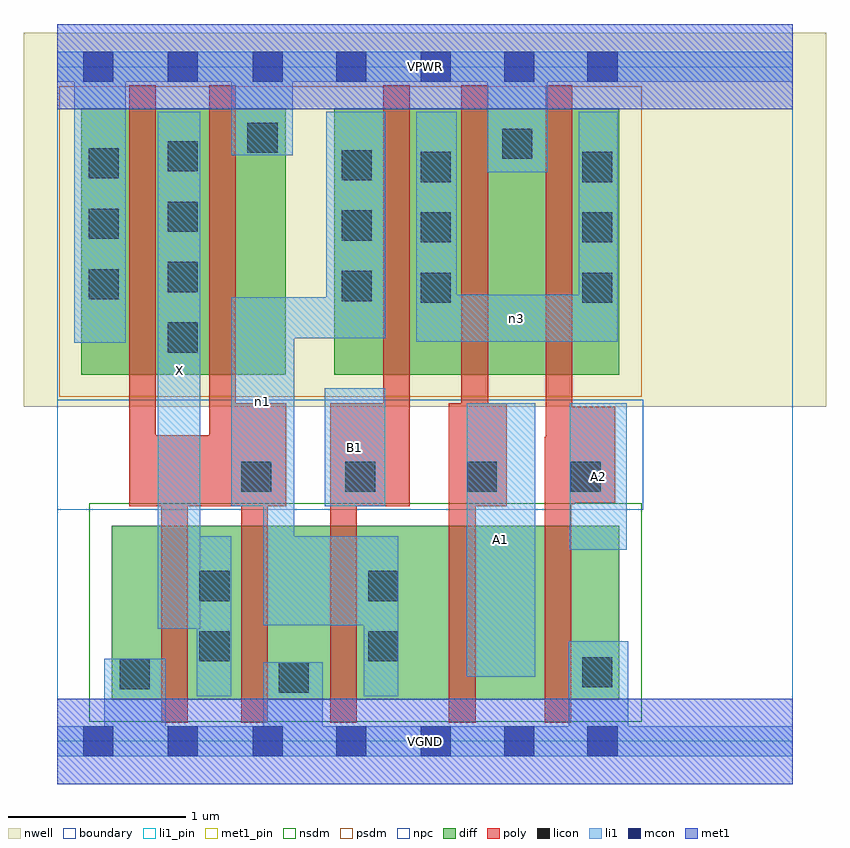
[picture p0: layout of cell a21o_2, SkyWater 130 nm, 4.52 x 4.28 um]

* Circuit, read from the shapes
.subckt a21o_2 A1 A2 B1 VGND VPWR X n1 n3
XM1 X n1 VGND VSUBS sky130_fd_pr__nfet_01v8 w=0.98 l=0.15 m=2
XM2 n1 B1 VGND VSUBS sky130_fd_pr__nfet_01v8 w=0.98 l=0.15
XM3 n2 A1 n1 VSUBS sky130_fd_pr__nfet_01v8 w=0.98 l=0.15
XM4 VGND A2 n2 VSUBS sky130_fd_pr__nfet_01v8 w=0.98 l=0.15
XM5 X n1 VPWR n4 sky130_fd_pr__pfet_01v8 w=1.5 l=0.15 m=2
XM6 n3 B1 n1 n4 sky130_fd_pr__pfet_01v8 w=1.5 l=0.15
XM7 VPWR A1 n3 n4 sky130_fd_pr__pfet_01v8 w=1.5 l=0.15
XM8 n3 A2 VPWR n4 sky130_fd_pr__pfet_01v8 w=1.5 l=0.15
.ends

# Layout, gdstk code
import gdstk
lib = gdstk.Library(unit=1e-6, precision=1e-09)
def R(c, l, rs):  # rectangles x0, y0, x1, y1
    for r in rs: c.add(gdstk.rectangle(r[:2], r[2:], *l))
def A(c, l, x, y, w, h, nx, ny, dx, dy):  # array of equal rectangles
    R(c, l, [(x+i*dx, y+j*dy, x+i*dx+w, y+j*dy+h) for i in range(nx) for j in range(ny)])
nwell = (64, 20)
diff = (65, 20)
poly = (66, 20)
licon = (66, 44)
li1_pin = (67, 16)
li1 = (67, 20)
mcon = (67, 44)
met1_pin = (68, 16)
met1 = (68, 20)
nsdm = (93, 44)
psdm = (94, 20)
npc = (95, 20)
boundary = (235, 4)

a21o_2 = lib.new_cell('a21o_2')
R(a21o_2, nwell, [(-0.19,1.885,4.33,3.99), (0,1.885,4.14,3.99)])
R(a21o_2, diff, [(0.305,0.235,3.165,1.215), (0.135,2.065,1.285,3.565), (1.56,2.065,3.165,3.565)])
R(a21o_2, poly, [(0.585,0.105,0.735,1.725), (1.035,0.105,1.185,1.905), (1.535,0.105,1.685,1.905), (2.205,0.105,2.355,1.905), (2.275,0.105,2.355,3.695), (2.745,0.105,2.895,1.715), (0.405,1.325,0.555,3.695), (0.405,1.325,1.29,1.725), (0.855,1.325,1.005,3.695), (0.855,1.325,1.29,1.905), (1.535,1.325,1.985,1.905), (1.835,1.325,1.985,3.695), (2.205,1.325,2.53,1.905), (2.355,1.325,2.425,3.695), (2.745,1.335,2.91,1.715), (2.75,1.335,2.9,3.695), (2.75,1.345,3.14,1.885)])
A(a21o_2, licon, 0.62, 2.19, 0.17, 0.17, 1, 4, 0, 0.34)
A(a21o_2, licon, 2.045, 2.47, 0.17, 0.17, 1, 3, 0, 0.34)
A(a21o_2, licon, 2.955, 2.47, 0.17, 0.17, 1, 3, 0, 0.34)
A(a21o_2, licon, 1.6, 2.48, 0.17, 0.17, 1, 3, 0, 0.34)
A(a21o_2, licon, 0.175, 2.49, 0.17, 0.17, 1, 3, 0, 0.34)
R(a21o_2, licon, [(1.245,0.275,1.415,0.445), (0.35,0.295,0.52,0.465), (2.955,0.305,3.125,0.475), (0.8,0.45,0.97,0.62), (1.75,0.45,1.92,0.62), (0.8,0.79,0.97,0.96), (1.75,0.79,1.92,0.96), (1.035,1.405,1.205,1.575), (1.62,1.405,1.79,1.575), (2.305,1.405,2.475,1.575), (2.89,1.405,3.06,1.575), (2.505,3.28,2.675,3.45), (1.07,3.315,1.24,3.485)])
R(a21o_2, li1_pin, [(2.305,0.365,2.69,1.905), (0.565,0.635,0.805,3.545), (2.885,1.08,3.205,1.905), (1.505,1.325,1.845,1.99)])
R(a21o_2, li1, [(0,-0.085,4.14,0.085), (0.265,-0.085,0.61,0.465), (1.16,-0.085,1.495,0.445), (2.88,-0.085,3.215,0.565), (0.785,0.255,0.98,1.155), (1.725,0.255,1.92,1.155), (2.305,0.365,2.69,1.905), (0.565,0.635,0.805,3.545), (1.16,0.655,1.92,1.155), (1.16,0.655,1.335,2.5), (2.885,1.08,3.205,1.905), (0.98,1.325,1.335,2.5), (1.505,1.325,1.845,1.99), (0.095,2.245,0.385,3.885), (2.02,2.25,3.155,2.515), (2.02,2.25,2.25,3.545), (2.935,2.25,3.155,3.545), (0.98,2.27,1.845,2.5), (1.515,2.27,1.845,3.545), (2.42,3.205,2.76,3.885), (0.98,3.3,1.325,3.885), (0,3.715,4.14,3.885)])
A(a21o_2, mcon, 2.045, -0.085, 0.17, 0.17, 3, 2, 0.47, 3.8)
R(a21o_2, mcon, [(0.145,-0.085,0.315,0.085), (0.62,-0.085,0.79,0.085), (1.1,-0.085,1.27,0.085), (1.57,-0.085,1.74,0.085), (0.145,3.715,0.315,3.885), (0.62,3.715,0.79,3.885), (1.1,3.715,1.27,3.885), (1.57,3.715,1.74,3.885)])
R(a21o_2, met1_pin, [(0,-0.24,4.14,0.24), (0,3.56,4.14,4.04)])
R(a21o_2, met1, [(0,-0.24,4.14,0.24), (0,3.56,4.14,4.04)])
R(a21o_2, nsdm, [(0.18,0.11,3.29,1.34)])
R(a21o_2, psdm, [(0.01,1.94,3.29,3.69)])
R(a21o_2, npc, [(0,1.305,3.3,1.925)])
R(a21o_2, boundary, [(0,0,4.14,3.8)])
a21o_2.add(gdstk.Label('A1', (2.497,1.135), layer=67, texttype=5))
a21o_2.add(gdstk.Label('A2', (3.045,1.492), layer=67, texttype=5))
a21o_2.add(gdstk.Label('B1', (1.675,1.657), layer=67, texttype=5))
a21o_2.add(gdstk.Label('X', (0.685,2.09), layer=67, texttype=5))
a21o_2.add(gdstk.Label('n1', (1.157,1.912), layer=67, texttype=5))
a21o_2.add(gdstk.Label('n3', (2.587,2.382), layer=67, texttype=5))
a21o_2.add(gdstk.Label('VPWR', (2.07,3.8), layer=68, texttype=5))
a21o_2.add(gdstk.Label('VGND', (2.07,0), layer=68, texttype=5))
a21o_2.add(gdstk.Label('A1', (2.497,1.135), layer=67, texttype=16))
a21o_2.add(gdstk.Label('A2', (3.045,1.492), layer=67, texttype=16))
a21o_2.add(gdstk.Label('B1', (1.675,1.657), layer=67, texttype=16))
a21o_2.add(gdstk.Label('X', (0.685,2.09), layer=67, texttype=16))
a21o_2.add(gdstk.Label('VPWR', (2.07,3.8), layer=68, texttype=16))
a21o_2.add(gdstk.Label('VGND', (2.07,0), layer=68, texttype=16))

lib.write_gds('a21o_2.gds')
